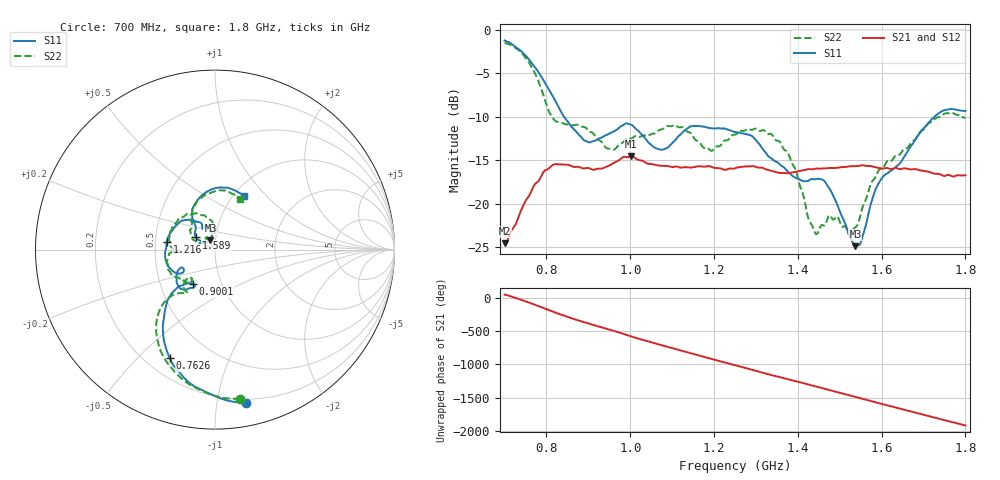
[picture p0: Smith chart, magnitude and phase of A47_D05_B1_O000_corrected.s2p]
! Created with skrf 1.9.0 (http://scikit-rf.org).
# Hz S RI R 50.0
!freq ReS11 ImS11 ReS21 ImS21 ReS12 ImS12 ReS22 ImS22
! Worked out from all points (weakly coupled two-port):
!   1601 points, 700 MHz to 1.8 GHz, reference 50 ohm
!   highest |S21| = -14.54 dB at 1.002 GHz (marker M1); lowest = -24.5 dB at 700 MHz (marker M2)
!   lowest |S11| = -24.9 dB at 1.537 GHz (marker M3), VSWR 1.12, Z = 47.3 + j4.87 ohm
!   |S11| at or under -10 dB: 842.2 MHz to 1.726 GHz (883.4 MHz wide, 68.8 % of centre)
!   |S22| runs from -23.6 to -1.5 dB; largest |S21 - S12| = 0.0035
!   S11 on the Smith chart (normalised r, x): 700 MHz: 0.17, -1.21; 762.6 MHz: 0.30, -0.63; 900.1 MHz: 0.73, -0.30; 1.216 GHz: 0.58, +0.05; 1.589 GHz: 0.80, +0.11; 1.8 GHz: 1.12, +0.76
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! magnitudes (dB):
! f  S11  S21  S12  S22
! 700 MHz  -1.2  -24.5  -24.3  -1.5
! 762.6 MHz  -3.7  -18.7  -18.6  -4.1
! 816.2 MHz  -7.7  -15.5  -15.6  -10.2
! 883.6 MHz  -12.4  -15.9  -15.8  -11.1
! 900.1 MHz  -12.9  -15.9  -15.9  -11.6
! 955.8 MHz  -11.8  -15.4  -15.4  -13.7
! 1.002 GHz  -10.9  -14.5  -14.6  -12.5
! 1.067 GHz  -13.7  -15.6  -15.5  -11.6
! 1.145 GHz  -11.1  -15.8  -15.8  -11.9
! 1.216 GHz  -11.3  -15.9  -15.9  -13.3
! 1.25 GHz  -11.7  -15.9  -15.8  -12.0
! 1.3 GHz  -12.6  -15.7  -15.7  -11.3
! 1.357 GHz  -15.5  -16.4  -16.4  -12.9
! 1.394 GHz  -17.0  -16.3  -16.3  -16.0
! 1.434 GHz  -17.1  -16.0  -16.0  -22.5
! 1.47 GHz  -17.8  -15.9  -15.9  -21.8
! 1.537 GHz  -24.9  -15.7  -15.7  -22.7
! 1.552 GHz  -24.2  -15.6  -15.6  -20.8
! 1.589 GHz  -18.0  -15.8  -15.8  -16.5
! 1.617 GHz  -16.4  -15.9  -15.9  -15.0
! 1.733 GHz  -9.7  -16.5  -16.6  -10.1
! 1.8 GHz  -9.3  -16.7  -16.7  -10.1
